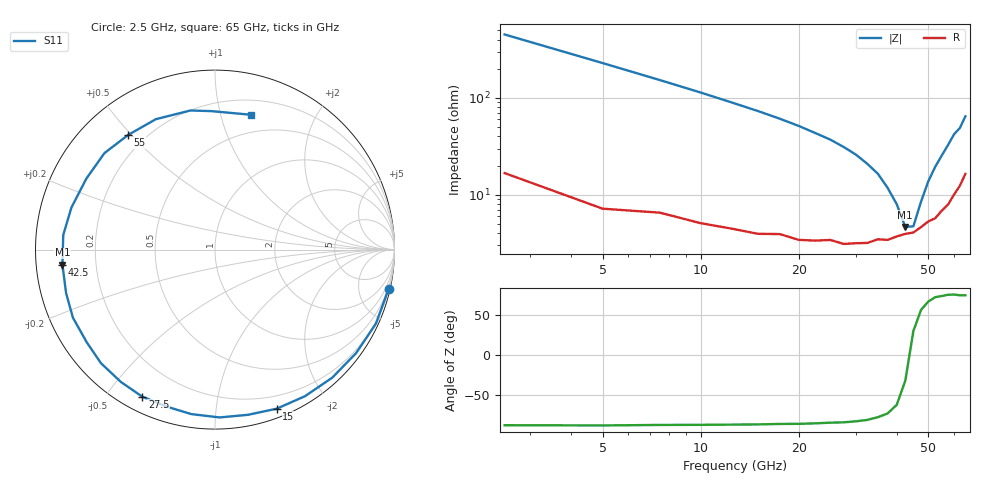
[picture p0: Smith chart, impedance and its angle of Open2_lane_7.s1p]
! File created by SignalIntegrity v1.5.1: Signal and Power Integrity Tools
! https://github.com/Nubis-Communications/SignalIntegrity
# MHz S MA R 50.0
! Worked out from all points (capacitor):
!   26 points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, 2.5 GHz to 65 GHz, reference 50 ohm
!   read as one part to ground: C = 138 fF near 2.5 GHz
!   lowest |Z| = 4.65 ohm at 42.5 GHz (marker M1)
!   series resonance near 43.77 GHz, so ESL is about 96 pH
!   S11 on the Smith chart (normalised r, x): 2.5 GHz: 0.33, -9.01; 15 GHz: 0.08, -1.46; 27.5 GHz: 0.06, -0.62; 42.5 GHz: 0.08, -0.05; 55 GHz: 0.14, +0.49; 65 GHz: 0.33, +1.25
2500  0.9919 -12.6
5000  0.987 -24.7
7500  0.9749 -36.3
10000  0.9674 -47.5
12500  0.9583 -58.5
15000  0.9508 -68.7
17500  0.9386 -78.7
20000  0.9354 -88.5
22500  0.9259 -98.2
25000  0.9154 -106.9
27500  0.914 -116.3
30000  0.9048 -125.4
32500  0.8968 -135.1
35000  0.8817 -144.1
37500  0.8777 -154.4
40000  0.8642 -163.8
42500  0.8541 -174.3
45000  0.8494 174.5
47500  0.8335 163.7
50000  0.8187 151.2
52500  0.8176 138.9
55000  0.8014 127.1
57500  0.7979 114.4
60000  0.787 100.0
62500  0.7716 91.4
65000  0.7776 75.1
